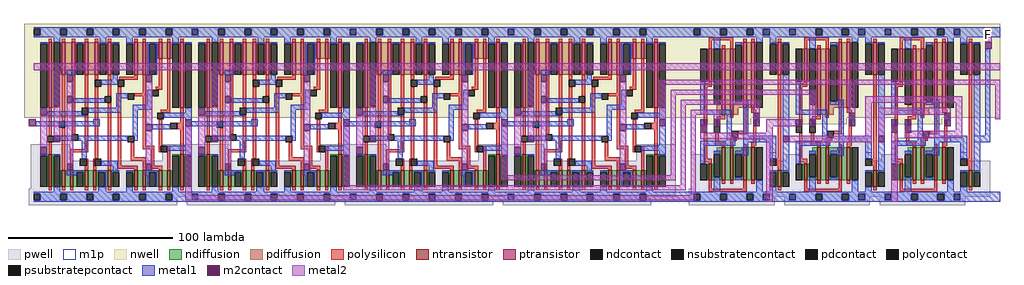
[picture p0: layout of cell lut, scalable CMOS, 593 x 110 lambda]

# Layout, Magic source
magic
tech scmos
<< nwell >>
rect 400 51 404 108
<< metal1 >>
rect 394 100 407 106
rect 585 100 593 106
rect 7 46 25 49
rect 102 46 121 49
rect 198 46 217 49
rect 294 46 313 49
rect 584 40 587 93
rect 581 36 587 40
rect 394 0 407 6
rect 585 0 593 6
<< m2contact >>
rect 584 93 588 97
rect 3 46 7 50
rect 98 46 102 50
rect 194 46 198 50
rect 290 46 294 50
rect 386 46 390 50
rect 18 36 22 40
rect 114 36 118 40
rect 210 36 214 40
rect 306 36 310 40
<< metal2 >>
rect 584 97 588 106
rect 6 80 593 84
rect 18 40 22 80
rect 98 4 102 46
rect 114 40 118 80
rect 194 10 198 46
rect 210 40 214 80
rect 290 16 294 46
rect 306 40 310 80
rect 386 71 411 74
rect 505 71 593 74
rect 386 50 390 71
rect 393 65 411 68
rect 393 16 396 65
rect 290 13 396 16
rect 399 59 411 62
rect 399 10 402 59
rect 194 7 402 10
rect 405 53 411 56
rect 405 4 408 53
rect 590 50 593 71
rect 98 1 408 4
use DFFPOSX1  DFFPOSX1_0
array 0 3 96 0 0 108
transform 1 0 8 0 1 3
box -8 -3 104 105
use mux_4_to_1  mux_4_to_1_0
transform 1 0 404 0 1 0
box 0 0 189 108
<< labels >>
rlabel metal2 584 97 588 106 0 F
<< end >>

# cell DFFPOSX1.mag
magic
tech scmos
<< nwell >>
rect -8 48 104 105
<< pwell >>
rect -4 22 20 32
rect 76 22 100 32
rect -4 5 100 22
rect -5 0 100 5
rect -5 -5 85 0
<< ntransistor >>
rect 7 6 9 26
rect 15 6 17 16
rect 20 6 22 16
rect 29 6 31 16
rect 34 6 36 16
rect 43 6 45 16
rect 59 6 61 16
rect 64 6 66 16
rect 74 6 76 16
rect 79 6 81 16
rect 87 6 89 26
<< ptransistor >>
rect 7 54 9 94
rect 15 74 17 94
rect 21 74 23 94
rect 29 74 31 94
rect 35 74 37 94
rect 43 74 45 94
rect 59 74 61 94
rect 64 74 66 94
rect 74 84 76 94
rect 79 84 81 94
rect 87 54 89 94
<< ndiffusion >>
rect 2 25 7 26
rect 6 6 7 25
rect 9 25 14 26
rect 9 6 10 25
rect 82 25 87 26
rect 14 6 15 16
rect 17 6 20 16
rect 22 15 29 16
rect 22 6 24 15
rect 28 6 29 15
rect 31 6 34 16
rect 36 15 43 16
rect 36 6 37 15
rect 41 6 43 15
rect 45 15 50 16
rect 45 6 46 15
rect 54 15 59 16
rect 58 6 59 15
rect 61 6 64 16
rect 66 15 74 16
rect 66 6 68 15
rect 72 6 74 15
rect 76 6 79 16
rect 81 6 82 16
rect 86 6 87 25
rect 89 25 94 26
rect 89 6 90 25
<< pdiffusion >>
rect 2 93 7 94
rect 6 54 7 93
rect 9 55 10 94
rect 14 74 15 94
rect 17 74 21 94
rect 23 93 29 94
rect 23 74 24 93
rect 28 74 29 93
rect 31 74 35 94
rect 37 93 43 94
rect 37 74 38 93
rect 42 74 43 93
rect 45 93 50 94
rect 45 74 46 93
rect 54 93 59 94
rect 58 74 59 93
rect 61 74 64 94
rect 66 93 74 94
rect 66 74 68 93
rect 72 84 74 93
rect 76 84 79 94
rect 81 93 87 94
rect 81 84 82 93
rect 72 74 73 84
rect 9 54 14 55
rect 86 54 87 93
rect 89 93 94 94
rect 89 54 90 93
<< ndcontact >>
rect 2 6 6 25
rect 10 6 14 25
rect 24 6 28 15
rect 37 6 41 15
rect 46 6 50 15
rect 54 6 58 15
rect 68 6 72 15
rect 82 6 86 25
rect 90 6 94 25
<< pdcontact >>
rect 2 54 6 93
rect 10 55 14 94
rect 24 74 28 93
rect 38 74 42 93
rect 46 74 50 93
rect 54 74 58 93
rect 68 74 72 93
rect 82 54 86 93
rect 90 54 94 93
<< psubstratepcontact >>
rect -2 -2 2 2
rect 14 -2 18 2
rect 30 -2 34 2
rect 46 -2 50 2
rect 62 -2 66 2
rect 78 -2 82 2
<< nsubstratencontact >>
rect -2 98 2 102
rect 14 98 18 102
rect 30 98 34 102
rect 46 98 50 102
rect 62 98 66 102
rect 78 98 82 102
<< polysilicon >>
rect 7 94 9 96
rect 15 94 17 96
rect 21 94 23 96
rect 29 94 31 96
rect 35 94 37 96
rect 43 94 45 96
rect 59 94 61 96
rect 64 94 66 96
rect 74 94 76 96
rect 79 94 81 96
rect 87 94 89 96
rect 7 37 9 54
rect 15 46 17 74
rect 7 26 9 33
rect 15 16 17 42
rect 21 38 23 74
rect 29 54 31 74
rect 29 29 31 50
rect 20 27 31 29
rect 35 71 37 74
rect 20 16 22 27
rect 35 23 37 67
rect 43 61 45 74
rect 59 73 61 74
rect 50 71 61 73
rect 30 19 31 23
rect 29 16 31 19
rect 34 19 35 23
rect 34 16 36 19
rect 43 16 45 57
rect 49 19 51 67
rect 64 63 66 74
rect 74 67 76 84
rect 72 65 76 67
rect 59 61 66 63
rect 57 24 59 33
rect 64 31 66 61
rect 79 53 81 84
rect 75 51 81 53
rect 74 31 76 47
rect 87 45 89 54
rect 85 41 89 45
rect 64 29 71 31
rect 57 22 66 24
rect 49 17 61 19
rect 59 16 61 17
rect 64 16 66 22
rect 69 19 71 29
rect 74 27 75 31
rect 69 17 76 19
rect 74 16 76 17
rect 79 16 81 31
rect 87 26 89 41
rect 7 4 9 6
rect 15 4 17 6
rect 20 4 22 6
rect 29 4 31 6
rect 34 4 36 6
rect 43 4 45 6
rect 59 4 61 6
rect 64 4 66 6
rect 74 4 76 6
rect 79 4 81 6
rect 87 4 89 6
<< polycontact >>
rect 13 42 17 46
rect 6 33 10 37
rect 27 50 31 54
rect 21 34 25 38
rect 35 67 39 71
rect 41 57 45 61
rect 26 19 30 23
rect 35 19 39 23
rect 49 67 53 71
rect 55 59 59 63
rect 70 61 74 65
rect 55 33 59 37
rect 73 47 77 51
rect 81 41 85 45
rect 75 27 79 31
<< metal1 >>
rect -2 102 98 103
rect 2 98 14 102
rect 18 98 30 102
rect 34 98 46 102
rect 50 98 62 102
rect 66 98 78 102
rect 82 98 98 102
rect -2 97 98 98
rect 10 94 14 97
rect 2 93 6 94
rect 24 93 28 94
rect 18 74 24 77
rect 38 93 42 97
rect 46 93 50 94
rect 54 93 58 97
rect 67 93 73 94
rect 67 74 68 93
rect 72 74 73 93
rect 82 93 86 97
rect 46 71 49 74
rect 39 68 49 71
rect 22 57 41 60
rect 48 60 55 63
rect 48 54 51 60
rect 67 56 70 65
rect 6 50 27 52
rect 31 51 51 54
rect 58 53 70 56
rect 90 93 94 94
rect 2 49 30 50
rect 34 46 38 47
rect 17 43 38 46
rect 10 34 21 37
rect 58 37 61 53
rect 90 51 94 54
rect 77 48 94 51
rect 70 41 81 44
rect 25 34 55 37
rect 2 25 6 26
rect 10 25 14 26
rect 27 23 30 34
rect 59 34 61 37
rect 90 31 94 48
rect 79 28 94 31
rect 90 25 94 28
rect 39 19 49 22
rect 46 16 49 19
rect 18 15 28 16
rect 18 13 24 15
rect 37 15 42 16
rect 41 6 42 15
rect 46 15 50 16
rect 54 15 58 16
rect 66 15 73 16
rect 66 13 68 15
rect 67 6 68 13
rect 72 6 73 15
rect 10 3 14 6
rect 37 3 42 6
rect 54 3 58 6
rect 82 3 86 6
rect -2 2 98 3
rect 2 -2 14 2
rect 18 -2 30 2
rect 34 -2 46 2
rect 50 -2 62 2
rect 66 -2 78 2
rect 82 -2 98 2
rect -2 -3 98 -2
<< m2contact >>
rect 18 70 22 74
rect 66 70 70 74
rect 18 57 22 61
rect 2 50 6 54
rect 66 40 70 44
rect 2 26 6 30
rect 18 16 22 20
rect 66 16 70 20
<< metal2 >>
rect 18 61 22 70
rect 2 30 6 50
rect 18 20 22 57
rect 66 44 70 70
rect 66 20 70 40
<< m1p >>
rect 34 43 38 47
rect 90 43 94 47
rect 10 33 14 37
<< labels >>
rlabel metal1 4 100 4 100 6 vdd
rlabel m1p 36 45 36 45 6 D
rlabel metal1 4 0 4 0 8 gnd
rlabel m1p 92 45 92 45 6 Q
rlabel m1p 12 35 12 35 6 CLK
<< end >>

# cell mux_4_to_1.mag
magic
tech scmos
<< m2contact >>
rect 7 46 11 50
rect 15 46 19 50
rect 39 46 43 50
rect 65 46 69 50
rect 73 46 77 50
rect 97 46 101 50
rect 123 46 127 50
rect 131 46 135 50
rect 155 46 159 50
rect 57 36 61 40
rect 115 36 119 40
<< metal2 >>
rect 7 71 101 74
rect 7 65 77 68
rect 7 59 43 62
rect 7 53 19 56
rect 15 50 19 53
rect 39 50 43 59
rect 73 50 77 65
rect 47 46 65 50
rect 97 50 101 71
rect 107 60 166 64
rect 7 42 11 46
rect 47 42 51 46
rect 7 38 51 42
rect 107 40 111 60
rect 47 0 51 38
rect 61 36 111 40
rect 115 53 159 57
rect 115 40 119 53
rect 155 50 159 53
rect 123 0 127 46
rect 131 43 135 46
rect 162 43 166 60
rect 131 39 166 43
use mux  mux_0
array 0 2 58 0 0 108
transform 1 0 2 0 1 0
box -2 0 71 108
<< labels >>
rlabel metal2 47 0 51 6 0 A
rlabel metal2 123 0 127 6 0 B
<< end >>

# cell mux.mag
magic
tech scmos
<< metal1 >>
rect 37 36 51 40
rect 47 26 51 36
use MUX2X1  MUX2X1_0
transform 1 0 3 0 1 3
box -5 -3 53 105
use INVX1  INVX1_0
transform 1 0 45 0 1 3
box -9 -3 26 105
<< end >>

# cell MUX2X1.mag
magic
tech scmos
<< nwell >>
rect -5 48 53 105
rect 6 44 33 48
<< pwell >>
rect 6 34 46 36
rect 4 26 46 34
rect -4 5 46 26
rect -5 4 46 5
rect -5 -5 37 4
<< ntransistor >>
rect 7 10 9 20
rect 15 10 17 30
rect 20 10 22 30
rect 28 10 30 30
rect 33 10 35 30
<< ptransistor >>
rect 7 70 9 90
rect 15 50 17 90
rect 20 50 22 90
rect 28 54 30 94
rect 33 54 35 94
<< ndiffusion >>
rect 12 28 15 30
rect 10 26 15 28
rect 6 10 7 20
rect 9 12 10 20
rect 14 12 15 26
rect 9 10 15 12
rect 17 10 20 30
rect 22 26 28 30
rect 22 12 23 26
rect 27 12 28 26
rect 22 10 28 12
rect 30 10 33 30
rect 35 10 36 30
<< pdiffusion >>
rect 23 92 28 94
rect 6 70 7 90
rect 9 70 10 90
rect 14 56 15 90
rect 12 50 15 56
rect 17 50 20 90
rect 22 58 23 90
rect 27 58 28 92
rect 22 54 28 58
rect 30 54 33 94
rect 35 54 36 94
rect 22 50 25 54
<< ndcontact >>
rect 2 10 6 20
rect 10 12 14 26
rect 23 12 27 26
rect 36 10 40 30
<< pdcontact >>
rect 2 70 6 90
rect 10 56 14 90
rect 23 58 27 92
rect 36 54 40 94
<< psubstratepcontact >>
rect -2 -2 2 2
rect 14 -2 18 2
rect 30 -2 34 2
<< nsubstratencontact >>
rect -2 98 2 102
rect 14 98 18 102
rect 30 98 34 102
<< polysilicon >>
rect 7 95 22 97
rect 7 90 9 95
rect 15 90 17 92
rect 20 90 22 95
rect 28 94 30 96
rect 33 94 35 96
rect 7 69 9 70
rect 4 67 9 69
rect 4 43 6 67
rect 15 49 17 50
rect 12 47 17 49
rect 20 48 22 50
rect 12 43 14 47
rect 28 40 30 54
rect 33 53 35 54
rect 33 51 36 53
rect 4 23 6 39
rect 11 33 13 39
rect 25 38 30 40
rect 20 34 24 36
rect 11 31 17 33
rect 15 30 17 31
rect 20 30 22 34
rect 34 33 36 47
rect 28 30 30 32
rect 33 31 36 33
rect 33 30 35 31
rect 4 21 9 23
rect 7 20 9 21
rect 7 5 9 10
rect 15 8 17 10
rect 20 8 22 10
rect 28 5 30 10
rect 33 8 35 10
rect 7 3 30 5
<< polycontact >>
rect 2 39 6 43
rect 10 39 14 43
rect 21 36 25 40
rect 34 47 38 51
<< metal1 >>
rect -2 102 50 103
rect 2 98 14 102
rect 18 98 30 102
rect 34 98 50 102
rect -2 97 50 98
rect 10 90 14 97
rect 36 94 40 97
rect 2 53 5 70
rect 23 92 27 94
rect 27 58 31 59
rect 23 56 31 58
rect 2 50 21 53
rect 2 43 6 47
rect 10 43 14 47
rect 18 36 21 50
rect 28 37 31 56
rect 34 43 38 47
rect 18 34 23 36
rect 2 31 23 34
rect 28 33 38 37
rect 2 20 5 31
rect 28 30 31 33
rect 27 28 31 30
rect 10 26 14 28
rect 10 3 14 12
rect 23 26 31 28
rect 27 25 31 26
rect 23 10 27 12
rect 36 3 40 10
rect -2 2 50 3
rect 2 -2 14 2
rect 18 -2 30 2
rect 34 -2 50 2
rect -2 -3 50 -2
<< m1p >>
rect 2 43 6 47
rect 10 43 14 47
rect 34 43 38 47
rect 34 33 38 37
<< labels >>
rlabel metal1 4 45 4 45 6 S
rlabel metal1 4 100 4 100 6 vdd
rlabel metal1 4 0 4 0 8 gnd
rlabel metal1 36 35 36 35 6 Y
rlabel metal1 36 45 36 45 6 A
rlabel metal1 12 45 12 45 6 B
<< end >>

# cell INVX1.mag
magic
tech scmos
<< nwell >>
rect -9 48 26 105
<< pwell >>
rect -4 5 20 22
rect -5 0 20 5
rect -5 -5 5 0
<< ntransistor >>
rect 7 6 9 16
<< ptransistor >>
rect 7 74 9 94
<< ndiffusion >>
rect 2 15 7 16
rect 6 6 7 15
rect 9 15 14 16
rect 9 6 10 15
<< pdiffusion >>
rect 2 93 7 94
rect 6 74 7 93
rect 9 93 14 94
rect 9 74 10 93
<< ndcontact >>
rect 2 6 6 15
rect 10 6 14 15
<< pdcontact >>
rect 2 74 6 93
rect 10 74 14 93
<< psubstratepcontact >>
rect -2 -2 2 2
<< nsubstratencontact >>
rect -2 98 2 102
<< polysilicon >>
rect 7 94 9 96
rect 7 23 9 74
rect 6 19 9 23
rect 7 16 9 19
rect 7 4 9 6
<< polycontact >>
rect 2 19 6 23
<< metal1 >>
rect -2 102 18 103
rect 2 98 18 102
rect -2 97 18 98
rect 2 93 6 97
rect 10 93 14 94
rect 2 23 6 27
rect 2 15 6 16
rect 10 15 14 74
rect 2 3 6 6
rect -2 2 18 3
rect 2 -2 18 2
rect -2 -3 18 -2
<< m1p >>
rect 10 33 14 37
rect 2 23 6 27
<< labels >>
rlabel metal1 4 25 4 25 6 A
rlabel metal1 12 35 12 35 6 Y
rlabel metal1 4 100 4 100 6 vdd
rlabel metal1 4 0 4 0 8 gnd
<< end >>
